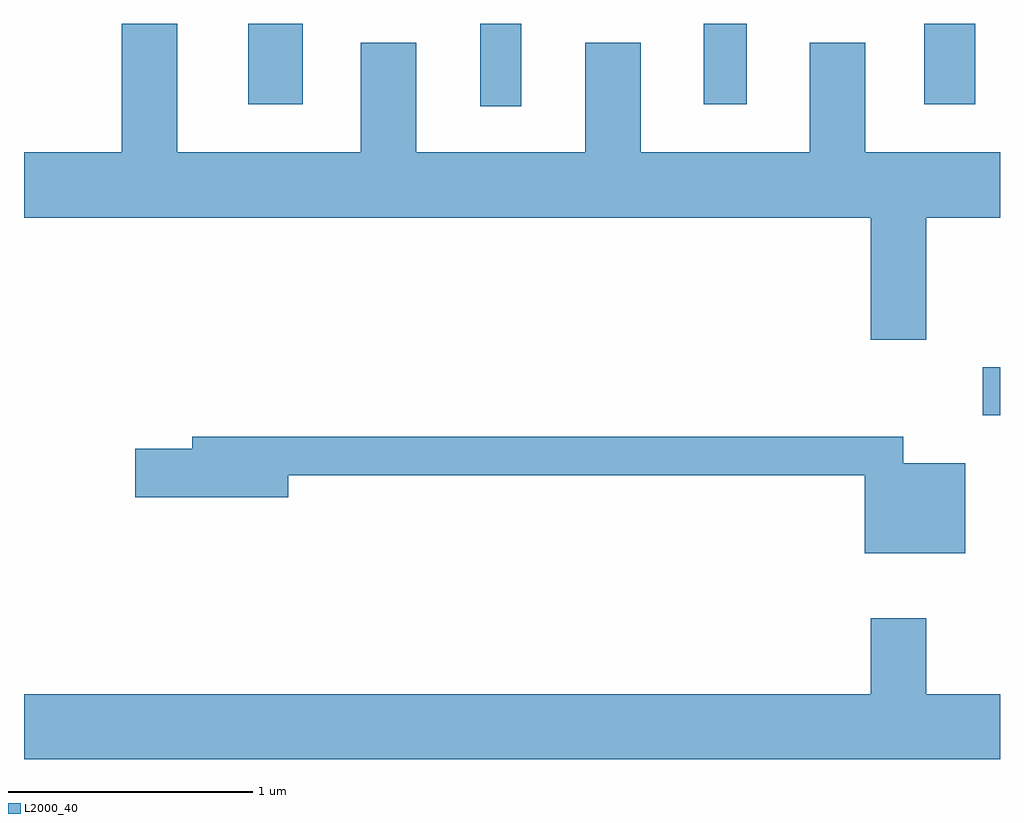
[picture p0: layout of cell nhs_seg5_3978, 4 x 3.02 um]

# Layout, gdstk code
import gdstk
lib = gdstk.Library(unit=1e-6, precision=1e-09)
def R(c, l, rs):  # rectangles x0, y0, x1, y1
    for r in rs: c.add(gdstk.rectangle(r[:2], r[2:], *l))
def P(c, l, *ps):  # polygons
    for p in ps: c.add(gdstk.Polygon(p, *l))
L2000_40 = (2000, 40)

nhs_seg5_3978 = lib.new_cell('nhs_seg5_3978')
R(nhs_seg5_3978, L2000_40, [(307.541,1420.466,307.611,1420.664), (305.481,1421.733,305.649,1422.072), (304.531,1421.741,304.754,1422.072), (306.396,1421.741,306.574,1422.072), (307.301,1421.741,307.509,1422.072)])
P(nhs_seg5_3978, L2000_40, [(307.309,1421.276),(307.611,1421.276),(307.611,1421.544),(307.059,1421.544),(307.059,1421.994),(306.831,1421.994),(306.831,1421.544),(306.139,1421.544),(306.139,1421.994),(305.911,1421.994),(305.911,1421.544),(305.219,1421.544),(305.219,1421.994),(304.991,1421.994),(304.991,1421.544),(304.239,1421.544),(304.239,1422.072),(304.011,1422.072),(304.011,1421.544),(303.611,1421.544),(303.611,1421.276),(307.081,1421.276),(307.081,1420.776),(307.309,1420.776)],
  [(307.469,1420.269),(307.214,1420.269),(307.214,1420.379),(304.301,1420.379),(304.301,1420.329),(304.066,1420.329),(304.066,1420.131),(304.694,1420.131),(304.694,1420.221),(307.056,1420.221),(307.056,1419.901),(307.469,1419.901)],
  [(307.611,1419.324),(307.309,1419.324),(307.309,1419.634),(307.081,1419.634),(307.081,1419.324),(303.611,1419.324),(303.611,1419.056),(307.611,1419.056)])

lib.write_gds('nhs_seg5_3978.gds')
